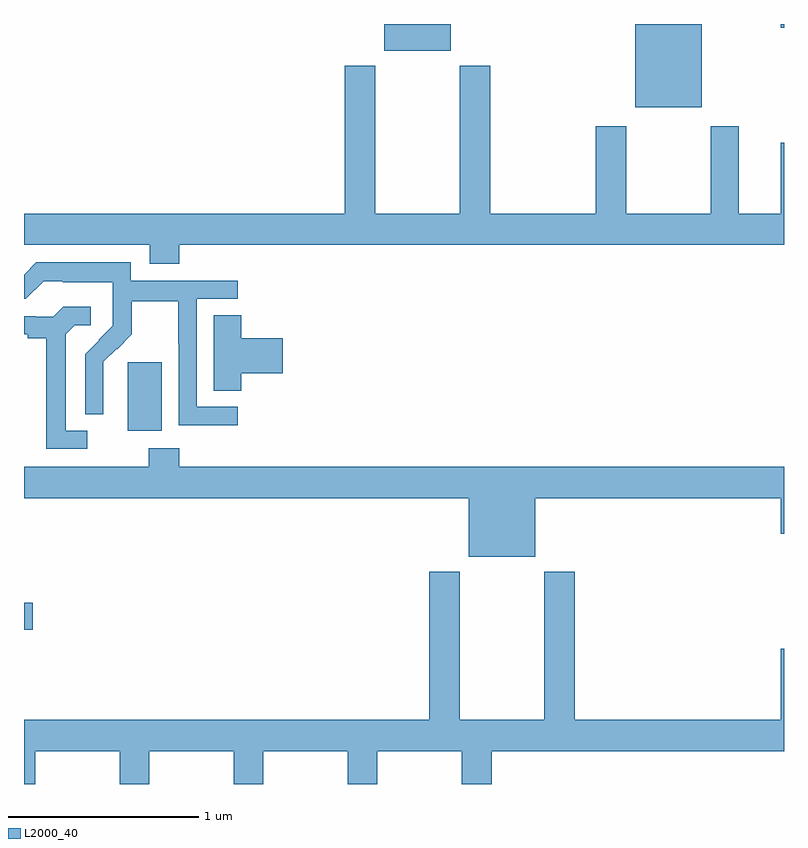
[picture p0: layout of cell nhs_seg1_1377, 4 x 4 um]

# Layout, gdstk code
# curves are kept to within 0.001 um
import gdstk
lib = gdstk.Library(unit=1e-6, precision=1e-09)
def R(c, l, rs):  # rectangles x0, y0, x1, y1
    for r in rs: c.add(gdstk.rectangle(r[:2], r[2:], *l))
def P(c, l, *ps):  # polygons
    for p in ps: c.add(gdstk.Polygon(p, *l))
L2000_40 = (2000, 40)

nhs_seg1_1377 = lib.new_cell('nhs_seg1_1377')
R(nhs_seg1_1377, L2000_40, [(185,579.01,185.047,579.152), (185.546,580.058,185.725,580.419), (188.216,581.762,188.566,582.199), (186.896,582.059,187.246,582.199), (188.984,582.18,189,582.199)])
P(nhs_seg1_1377, L2000_40, [(185.816,581.036),(189,581.036),(189,581.575),(188.984,581.575),(188.984,581.2),(188.761,581.2),(188.761,581.662),(188.614,581.662),(188.614,581.2),(188.169,581.2),(188.169,581.662),(188.009,581.662),(188.009,581.2),(187.454,581.2),(187.454,581.98),(187.294,581.98),(187.294,581.2),(186.849,581.2),(186.849,581.98),(186.689,581.98),(186.689,581.2),(185,581.2),(185,581.036),(185.663,581.036),(185.663,580.937),(185.816,580.937)],
  [(186.124,580.185),(185.91,580.185),(185.91,580.752),(186.124,580.752),(186.124,580.848),(185.562,580.848),(185.562,580.945),(185.065,580.945),(185,580.88),(185,580.752),(185.01,580.752),(185.103,580.845),(185.203,580.845),(185.203,580.841),(185.466,580.841),(185.466,580.707),(185.468,580.707),(185.468,580.61),(185.322,580.462),(185.322,580.144),(185.418,580.144),(185.417,580.421),(185.487,580.491),(185.49,580.488),(185.567,580.565),(185.567,580.74),(185.812,580.74),(185.812,580.516),(185.814,580.516),(185.814,580.087),(186.124,580.087)],
  [(185.332,580.059),(185.221,580.059),(185.221,580.567),(185.268,580.614),(185.35,580.614),(185.35,580.711),(185.206,580.711),(185.154,580.659),(185.06,580.659),(185.06,580.662),(185,580.662),(185,580.566),(185.021,580.566),(185.021,580.544),(185.117,580.544),(185.117,579.963),(185.332,579.963)],
  [(186.143,580.361),(186.361,580.361),(186.361,580.544),(186.143,580.544),(186.143,580.667),(185.999,580.667),(185.999,580.27),(186.143,580.27)],
  [(187.69,579.704),(188.984,579.704),(188.984,579.516),(189,579.516),(189,579.868),(185.816,579.868),(185.816,579.967),(185.656,579.967),(185.656,579.868),(185,579.868),(185,579.704),(187.34,579.704),(187.34,579.395),(187.69,579.395)],
  [(185,578.199),(185.058,578.199),(185.058,578.372),(185.503,578.372),(185.503,578.199),(185.658,578.199),(185.658,578.372),(186.103,578.372),(186.103,578.199),(186.258,578.199),(186.258,578.372),(186.703,578.372),(186.703,578.199),(186.858,578.199),(186.858,578.372),(187.303,578.372),(187.303,578.199),(187.463,578.199),(187.463,578.372),(189,578.372),(189,578.911),(188.984,578.911),(188.984,578.536),(187.898,578.536),(187.898,579.316),(187.738,579.316),(187.738,578.536),(187.293,578.536),(187.293,579.316),(187.133,579.316),(187.133,578.536),(185,578.536)])

lib.write_gds('nhs_seg1_1377.gds')
